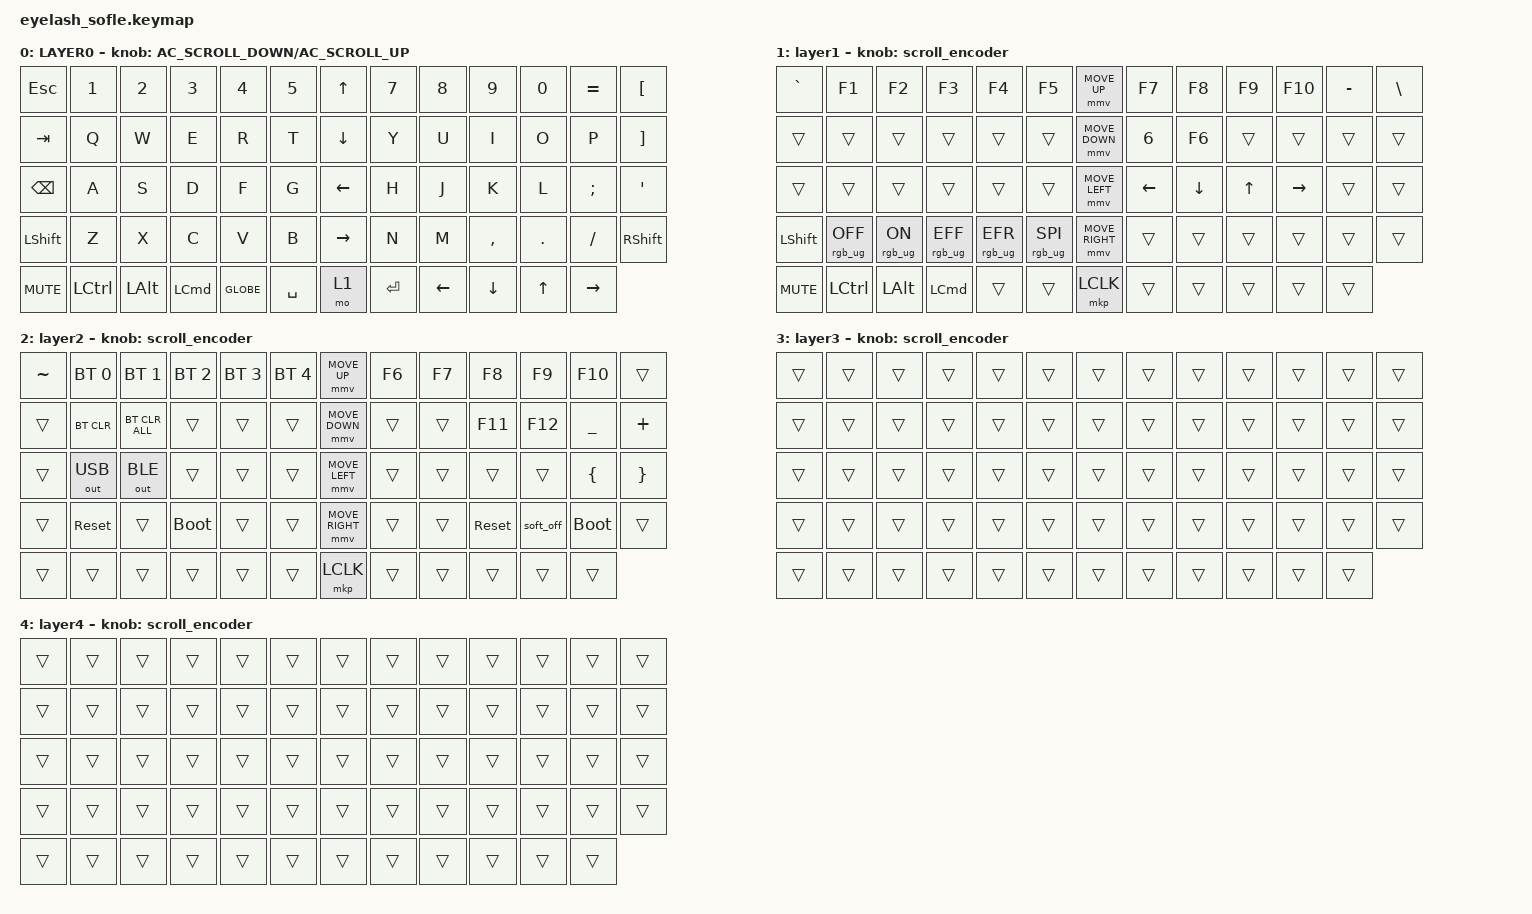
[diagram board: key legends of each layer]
#define ZMK_POINTING_DEFAULT_MOVE_VAL 1200  // 600
#define ZMK_POINTING_DEFAULT_SCRL_VAL 25   // 10

#include <input/processors.dtsi>
#include <zephyr/dt-bindings/input/input-event-codes.h>
#include <behaviors.dtsi>
#include <dt-bindings/zmk/bt.h>
#include <dt-bindings/zmk/keys.h>
#include <dt-bindings/zmk/outputs.h>
#include <dt-bindings/zmk/pointing.h>
#include <dt-bindings/zmk/rgb.h>

&mmv_input_listener { input-processors = <&zip_xy_scaler 2 1>; };

&msc_input_listener { input-processors = <&zip_scroll_scaler 2 1>; };

&msc {
    acceleration-exponent = <1>;      // 0
    time-to-max-speed-ms = <100>;       // 300
    delay-ms = <0>;                   // 0
};

&mmv {
    time-to-max-speed-ms = <500>;
    acceleration-exponent = <1>;
    trigger-period-ms = <16>;
};

&soft_off { hold-time-ms = <2000>; };

/ {
    scroll_encoder: scroll_encoder {
        compatible = "zmk,behavior-sensor-rotate";
        #sensor-binding-cells = <0>;
        bindings = <&msc SCRL_DOWN>, <&msc SCRL_UP>;

        tap-ms = <100>;
    };

    behaviors {
    };

    combos {
        compatible = "zmk,combos";

        softoff {
            bindings = <&soft_off>;
            key-positions = <14 28 40>;
        };
    };

    keymap {
        compatible = "zmk,keymap";

        layer0 {
            bindings = <
&kp ESC        &kp N1     &kp N2    &kp N3            &kp N4     &kp N5       &kp UP_ARROW     &kp N7     &kp N8          &kp N9     &kp N0        &kp EQUAL  &kp LEFT_BRACKET
&kp TAB        &kp Q      &kp W     &kp E             &kp R      &kp T        &kp DOWN_ARROW   &kp Y      &kp U           &kp I      &kp O         &kp P      &kp RIGHT_BRACKET
&kp BACKSPACE  &kp A      &kp S     &kp D             &kp F      &kp G        &kp LEFT_ARROW   &kp H      &kp J           &kp K      &kp L         &kp SEMI   &kp APOS
&kp LSHFT      &kp Z      &kp X     &kp C             &kp V      &kp B        &kp RIGHT_ARROW  &kp N      &kp M           &kp COMMA  &kp DOT       &kp FSLH   &kp RIGHT_SHIFT
&kp C_MUTE     &kp LCTRL  &kp LALT  &kp LEFT_COMMAND  &kp GLOBE  &kp SPACE    &mo 1            &kp ENTER  &kp LEFT_ARROW  &kp DOWN   &kp UP_ARROW  &kp RIGHT
            >;

            sensor-bindings = <&inc_dec_kp C_AC_SCROLL_DOWN C_AC_SCROLL_UP>;
            display-name = "LAYER0";
        };

        layer_1 {
            bindings = <
&kp GRAVE       &kp F1           &kp F2          &kp F3           &kp F4           &kp F5             &mmv MOVE_UP     &kp F7    &kp F8          &kp F9        &kp F10    &kp MINUS  &kp BACKSLASH
&trans          &trans           &trans          &trans           &trans           &trans             &mmv MOVE_DOWN   &kp N6    &kp F6          &trans        &trans     &trans     &trans
&trans          &trans           &trans          &trans           &trans           &trans             &mmv MOVE_LEFT   &kp LEFT  &kp DOWN_ARROW  &kp UP_ARROW  &kp RIGHT  &trans     &trans
&kp LEFT_SHIFT  &rgb_ug RGB_OFF  &rgb_ug RGB_ON  &rgb_ug RGB_EFF  &rgb_ug RGB_EFR  &rgb_ug RGB_SPI    &mmv MOVE_RIGHT  &trans    &trans          &trans        &trans     &trans     &trans
&kp C_MUTE      &kp LCTRL        &kp LEFT_ALT    &kp LCMD         &trans           &trans             &mkp LCLK        &trans    &trans          &trans        &trans     &trans
            >;

            display-name = "layer1";
            sensor-bindings = <&scroll_encoder>;
        };

        layer_2 {
            bindings = <
&kp TILDE  &bt BT_SEL 0  &bt BT_SEL 1    &bt BT_SEL 2  &bt BT_SEL 3  &bt BT_SEL 4    &mmv MOVE_UP     &kp F6  &kp F7  &kp F8      &kp F9     &kp F10      &trans
&trans     &bt BT_CLR    &bt BT_CLR_ALL  &trans        &trans        &trans          &mmv MOVE_DOWN   &trans  &trans  &kp F11     &kp F12    &kp UNDER    &kp PLUS
&trans     &out OUT_USB  &out OUT_BLE    &trans        &trans        &trans          &mmv MOVE_LEFT   &trans  &trans  &trans      &trans     &kp LBRC     &kp RBRC
&trans     &sys_reset    &trans          &bootloader   &trans        &trans          &mmv MOVE_RIGHT  &trans  &trans  &sys_reset  &soft_off  &bootloader  &trans
&trans     &trans        &trans          &trans        &trans        &trans          &mkp LCLK        &trans  &trans  &trans      &trans     &trans
            >;

            display-name = "layer2";
            sensor-bindings = <&scroll_encoder>;
        };

        layer_3 {
            bindings = <
&trans  &trans  &trans  &trans  &trans  &trans    &trans  &trans  &trans  &trans  &trans  &trans  &trans
&trans  &trans  &trans  &trans  &trans  &trans    &trans  &trans  &trans  &trans  &trans  &trans  &trans
&trans  &trans  &trans  &trans  &trans  &trans    &trans  &trans  &trans  &trans  &trans  &trans  &trans
&trans  &trans  &trans  &trans  &trans  &trans    &trans  &trans  &trans  &trans  &trans  &trans  &trans
&trans  &trans  &trans  &trans  &trans  &trans    &trans  &trans  &trans  &trans  &trans  &trans
            >;

            display-name = "layer3";
            sensor-bindings = <&scroll_encoder>;
        };

        layer_4 {
            bindings = <
&trans  &trans  &trans  &trans  &trans  &trans    &trans  &trans  &trans  &trans  &trans  &trans  &trans
&trans  &trans  &trans  &trans  &trans  &trans    &trans  &trans  &trans  &trans  &trans  &trans  &trans
&trans  &trans  &trans  &trans  &trans  &trans    &trans  &trans  &trans  &trans  &trans  &trans  &trans
&trans  &trans  &trans  &trans  &trans  &trans    &trans  &trans  &trans  &trans  &trans  &trans  &trans
&trans  &trans  &trans  &trans  &trans  &trans    &trans  &trans  &trans  &trans  &trans  &trans
            >;

            display-name = "layer4";
            sensor-bindings = <&scroll_encoder>;
        };
    };
};
